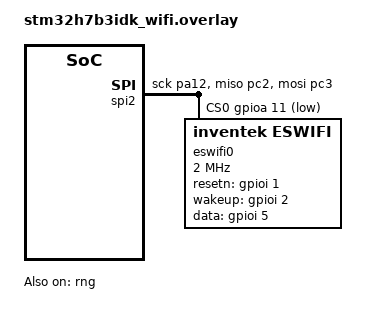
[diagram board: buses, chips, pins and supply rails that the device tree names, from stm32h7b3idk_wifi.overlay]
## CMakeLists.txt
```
cmake_minimum_required(VERSION 3.20.0)

set(DTC_OVERLAY_FILE
    "${CMAKE_CURRENT_SOURCE_DIR}/stm32h7b3idk_wifi.overlay"
    "${CMAKE_CURRENT_SOURCE_DIR}/stm32h7b3idk_backlight.overlay"
)

find_package(Zephyr REQUIRED HINTS $ENV{ZEPHYR_BASE})
project(stm32h7b3i_wifi_demo)

target_include_directories(app PRIVATE src)

target_sources(app PRIVATE 
    src/main.c
    src/display.c
    src/backlight.c
    src/gui_wifi.c
    src/gui_wifi_scan.c
    src/gui_wifi_register.c
    src/wifi_connection.c
)
```

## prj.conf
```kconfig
# System
CONFIG_MAIN_STACK_SIZE=8192
CONFIG_NET_MGMT_EVENT_STACK_SIZE=4096

# Shell
CONFIG_SHELL=n
CONFIG_NET_SHELL=n
CONFIG_NET_L2_WIFI_SHELL=n
CONFIG_SHELL_BACKEND_SERIAL=n

# Log
CONFIG_LOG=y
CONFIG_LV_USE_LOG=y

# Display
CONFIG_DISPLAY=y
CONFIG_DISPLAY_LOG_LEVEL_ERR=y

# Touchscreen
CONFIG_INPUT=y

# LVGL
CONFIG_LVGL=y
CONFIG_LV_Z_PARTIAL_REFRESH=y
CONFIG_LV_Z_MEM_POOL_SIZE=65536
CONFIG_LV_DEF_REFR_PERIOD=16

CONFIG_LV_USE_LABEL=y

# LVGL fonts
CONFIG_LV_FONT_MONTSERRAT_14=y
CONFIG_LV_FONT_MONTSERRAT_20=y
CONFIG_LV_FONT_MONTSERRAT_40=y

# Peripherial
CONFIG_GPIO=y
CONFIG_SPI=y
CONFIG_PWM=y

# Network
CONFIG_NETWORKING=y
CONFIG_NET_IPV4=y
CONFIG_WIFI=y

CONFIG_WIFI_ESWIFI=y
CONFIG_WIFI_ESWIFI_BUS_SPI=y
CONFIG_WIFI_ESWIFI_SHELL=y
CONFIG_NET_MGMT_EVENT_INFO=y

# Hardware RNG
CONFIG_ENTROPY_GENERATOR=y
CONFIG_ENTROPY_STM32_RNG=y
CONFIG_ENTROPY_DEVICE_RANDOM_GENERATOR=y
```

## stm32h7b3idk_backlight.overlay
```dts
#include <zephyr/dt-bindings/pinctrl/stm32-pinctrl.h>
#include <zephyr/dt-bindings/pwm/pwm.h>

/ {
    backlight {
        compatible = "pwm-leds";

        lcd_backlight: lcd_backlight {
            pwms = <&pwm2 2 50000 PWM_POLARITY_NORMAL>;
            label = "LCD Backlight";
        };
    };
};

&pinctrl {
    lcd_backlight_pwm_pin: lcd_backlight_pwm_pin {
        pinmux = <STM32_PINMUX('A', 1, AF1)>;
    };
};

&timers2 {
    status = "okay";

    pwm2: pwm {
        status = "okay";
        pinctrl-0 = <&lcd_backlight_pwm_pin>;
        pinctrl-names = "default";
    };
};

&ltdc {
    /delete-property/ bl-ctrl-gpios;
};
```

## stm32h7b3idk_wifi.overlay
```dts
#include <zephyr/dt-bindings/gpio/gpio.h>

/ {
    chosen {
        zephyr,entropy = &rng;
    };
};

&rng {
    status = "okay";
};

/ {
    aliases {
        wifi0 = &eswifi0;
    };
};

&fdcan1 {
    status = "disabled";
};

&spi2 {
    pinctrl-0 = <&spi2_sck_pa12
                 &spi2_miso_pc2
                 &spi2_mosi_pc3>;
    pinctrl-names = "default";

    cs-gpios = <&gpioa 11 GPIO_ACTIVE_LOW>;

    status = "okay";

    eswifi0: wifi@0 {
        compatible = "inventek,eswifi";
        reg = <0>;
        spi-max-frequency = <2000000>;

        spi-cs-setup-delay-ns = <15000>;
        spi-cs-hold-delay-ns = <15000>;

        resetn-gpios = <&gpioi 1 GPIO_ACTIVE_HIGH>;
        wakeup-gpios = <&gpioi 2 GPIO_ACTIVE_HIGH>;
        data-gpios = <&gpioi 5 GPIO_ACTIVE_HIGH>;

        status = "okay";
    };
};
```

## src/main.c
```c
/*****************************************************************************
                                    INCLUDES
*****************************************************************************/
#include <zephyr/kernel.h>
#include <zephyr/logging/log.h>

#include <lvgl.h>

#include <display.h>
#include <backlight.h>
#include <theme.h>

#include <gui_wifi.h>
#include <gui_wifi_scan.h>
#include <gui_wifi_register.h>


/*****************************************************************************
                          PRIVATE DEFINES / MACROS
*****************************************************************************/
LOG_MODULE_REGISTER(app_main, LOG_LEVEL_INF);

#define MAIN_LOOP_PERIOD_MS   (10U)
#define PERF_PRINT_REPORT     (false)
#define ENABLE_BTN_ANIM       (true)


/*****************************************************************************
                     PRIVATE STRUCTS / ENUMS / VARIABLES
*****************************************************************************/

/*****************************************************************************
                         PRIVATE FUNCTION DECLARATIONS
*****************************************************************************/

/*****************************************************************************
                       PRIVATE FUNCTION IMPLEMENTATIONS
*****************************************************************************/

/*****************************************************************************
                           INTERFACE IMPLEMENTATION
*****************************************************************************/
int main(void)
{
    int ret = 0;

    ret = app_display_init(lv_color_hex(CHOZO_DARK_BLUE));
    if (0 != ret) {
        LOG_ERR("Display initialization failed: %d", ret);
        return 0;
    }

    (void)lv_timer_handler();

    ret = app_display_enable();
    if (0 != ret) {
        LOG_ERR("Failed to enable display: %d", ret);
        return 0;
    }

    backlight_btn_t colors = {
        .background = lv_color_hex(CHOZO_DARK_BLUE),
        .icon = lv_color_hex(DARK_SAMUS_BLUE),
        .border = lv_color_hex(SAMUS_GREEN),
    };
    backlight_button_create(lv_screen_active(), colors, ENABLE_BTN_ANIM);

    app_display_create_version_label(lv_screen_active(), lv_color_hex(SAMUS_GREEN));

    ret = gui_wifi_init(lv_screen_active(), lv_color_hex(CHOZO_DARK_BLUE), 
                        lv_color_hex(SAMUS_GREEN));
    if (0 != ret) {
        LOG_ERR("Wi-Fi GUI initialization failed: %d", ret);
    return 0;
    }

    while (true) {
        gui_wifi_scan_process();
        gui_wifi_register_process();

        (void)lv_timer_handler();
        k_sleep(K_MSEC(MAIN_LOOP_PERIOD_MS));
    }
}
```

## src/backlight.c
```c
/*****************************************************************************
                                    INCLUDES
*****************************************************************************/
#include <backlight.h>

#include <zephyr/device.h>
#include <zephyr/devicetree.h>
#include <zephyr/drivers/pwm.h>
#include <zephyr/kernel.h>
#include <zephyr/logging/log.h>


/*****************************************************************************
                          PRIVATE DEFINES / MACROS
*****************************************************************************/
LOG_MODULE_REGISTER(backlight, LOG_LEVEL_INF);

#define BACKLIGHT_NODE DT_NODELABEL(lcd_backlight)
#define BACKLIGHT_LOW_PERCENT   (35U)
#define BACKLIGHT_HIGH_PERCENT  (85U)
#define BACKLIGHT_PERCENT_MAX   (100U)


/*****************************************************************************
                     PRIVATE STRUCTS / ENUMS / VARIABLES
*****************************************************************************/
static bool backlight_high = true;
static lv_obj_t *backlight_button = NULL;
static lv_obj_t *backlight_icon = NULL;

static const struct pwm_dt_spec backlight = PWM_DT_SPEC_GET(BACKLIGHT_NODE);


/*****************************************************************************
                         PRIVATE FUNCTION DECLARATIONS
*****************************************************************************/

/*****************************************************************************
                       PRIVATE FUNCTION IMPLEMENTATIONS
*****************************************************************************/
static void backlight_button_cb(lv_event_t *event)
{
    int ret = 0;
    uint32_t brightness = BACKLIGHT_LOW_PERCENT;

    ARG_UNUSED(event);

    brightness = (true == backlight_high) ? (BACKLIGHT_LOW_PERCENT) : (BACKLIGHT_HIGH_PERCENT);
    ret = backlight_set_brightness(brightness);
    if (0 != ret) {
        LOG_ERR("Backlight PWM error: %d", ret);
        return;
    }

    backlight_high = !backlight_high;
    lv_label_set_text(backlight_icon, (true == backlight_high) ? (LV_SYMBOL_EYE_OPEN) : (LV_SYMBOL_EYE_CLOSE));
}


/*****************************************************************************
                           INTERFACE IMPLEMENTATION
*****************************************************************************/
int backlight_set_brightness(uint32_t percent)
{
    uint32_t pulse_ns = 0U;

    if (BACKLIGHT_PERCENT_MAX < percent) {
        return -EINVAL;
    }

    pulse_ns = (uint32_t)(((uint64_t)backlight.period * percent) / BACKLIGHT_PERCENT_MAX);
    return pwm_set_dt(&backlight, backlight.period, pulse_ns);
}

uint32_t backlight_get_brightness(void)
{
    return (true == backlight_high) ? (BACKLIGHT_HIGH_PERCENT) : (BACKLIGHT_LOW_PERCENT);
}

void backlight_button_create(lv_obj_t *screen, backlight_btn_t colors, bool enable_anim)
{
    backlight_button = lv_button_create(screen);

    if (true != enable_anim) {
        lv_obj_remove_style_all(backlight_button);
    }

    lv_obj_set_size(backlight_button, 42, 42);
    lv_obj_align(backlight_button, LV_ALIGN_TOP_LEFT, 8, 8);
    lv_obj_set_style_radius(backlight_button, LV_RADIUS_CIRCLE, 0);
    lv_obj_set_style_bg_color(backlight_button, colors.background, 0);
    lv_obj_set_style_bg_opa(backlight_button, LV_OPA_COVER, 0);

    lv_obj_set_style_border_width(backlight_button, 2, 0);
    lv_obj_set_style_border_color(backlight_button, colors.border, 0);

    lv_obj_add_event_cb(backlight_button, backlight_button_cb, LV_EVENT_CLICKED, NULL);

    backlight_icon = lv_label_create(backlight_button);
    lv_label_set_text(backlight_icon, LV_SYMBOL_EYE_OPEN);
    lv_obj_center(backlight_icon);
    lv_obj_set_style_text_color(backlight_icon, colors.icon, 0);
}

int backlight_init(void) 
{
    int ret = 0;

    if (true != pwm_is_ready_dt(&backlight)) {
        LOG_ERR("Backlight PWM device not ready");
        return -ENODEV;
    }

    ret = backlight_set_brightness(BACKLIGHT_HIGH_PERCENT);
    if (0 != ret) {
        LOG_ERR("Backlight PWM error: %d", ret);
    }

    return ret;
}
```

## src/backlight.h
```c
/**
 * @file backlight.h
 * @brief LCD backlight control and LVGL user interface.
 *
 * Provides an interface for initializing the LCD backlight
 * and creating an LVGL button to control its brightness.
 */

#ifndef BACKLIGHT_H
#define BACKLIGHT_H

/*****************************************************************************
                                    INCLUDES
*****************************************************************************/
#include <stdint.h>

#include <lvgl.h>


/*****************************************************************************
                       PUBLIC DEFINES / MACROS / ENUMS
*****************************************************************************/

/*****************************************************************************
                         PUBLIC INTERFACE DECLARATION
*****************************************************************************/
/**
 * @brief Color configuration for the backlight control button.
 * @note Defines the colors used by the LVGL backlight button and its graphical elements.
 */
typedef struct {
    lv_color_t background;
    lv_color_t icon;
    lv_color_t border;
} backlight_btn_t;

/**
 * @brief Create an LVGL button for controlling the LCD backlight.
 * @param [in] screen Parent LVGL object.
 * @param [in] colors Color configuration for the button.
 * @param [in] enable_anim Enable button animation.
 */
void backlight_button_create(lv_obj_t *screen, backlight_btn_t colors, bool enable_anim);

/**
 * @brief Initialize the LCD backlight.
 * @return 0 Initialization completed successfully, error code if initialization fails.
 */
int backlight_init(void);

/**
 * @brief Set LCD backlight brightness.
 * @param[in] percent Brightness in the range 0-100%.
 * @retval 0 Brightness updated successfully.
 * @retval <0 PWM configuration failed.
 */
int backlight_set_brightness(uint32_t percent);

/**
 * @brief Get the user-selected backlight brightness.
 * @return Brightness percentage.
 */
uint32_t backlight_get_brightness(void);

#endif // BACKLIGHT_H
```

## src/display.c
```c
/*****************************************************************************
                                    INCLUDES
*****************************************************************************/
#include <errno.h>
#include <stdio.h>

#include <zephyr/device.h>
#include <zephyr/devicetree.h>
#include <zephyr/drivers/display.h>
#include <zephyr/logging/log.h>
#include <zephyr/version.h>

#include <lvgl.h>

#include <backlight.h>
#include <display.h>
#include <theme.h>


/*****************************************************************************
                          PRIVATE DEFINES / MACROS
*****************************************************************************/
LOG_MODULE_REGISTER(app_display, LOG_LEVEL_INF);

#define VERSION_TEXT_SIZE     (64U)
#define VERSION_LABEL_Y_POS   (12)


/*****************************************************************************
                     PRIVATE STRUCTS / ENUMS / VARIABLES
*****************************************************************************/
static const struct device *display_dev = DEVICE_DT_GET(DT_CHOSEN(zephyr_display));


/*****************************************************************************
                         PRIVATE FUNCTION DECLARATIONS
*****************************************************************************/

/*****************************************************************************
                       PRIVATE FUNCTION IMPLEMENTATIONS
*****************************************************************************/

/*****************************************************************************
                           INTERFACE IMPLEMENTATION
*****************************************************************************/
int app_display_init(lv_color_t color_bg)
{
    lv_display_t *display = NULL;
    lv_obj_t *screen = NULL;

    if (false == device_is_ready(display_dev)) {
        LOG_ERR("Display device not ready");
        return -ENODEV;
    }

    display = lv_display_get_default();
    if (NULL == display) {
        LOG_ERR("No LVGL display");
        return -ENODEV;
    }

    screen = lv_screen_active();
    if (NULL == screen) {
        LOG_ERR("No active LVGL screen");
        return -ENODEV;
    }

    lv_obj_set_style_bg_color(screen, color_bg, LV_PART_MAIN);
    lv_obj_set_style_bg_opa(screen, LV_OPA_COVER, LV_PART_MAIN);

    lv_obj_set_scrollable(screen, false);

    return 0;
}

int app_display_enable(void)
{
    int ret = 0;

    ret = display_blanking_off(display_dev);
    if ((0 > ret) && (-ENOSYS != ret)) {
        LOG_ERR("Failed to disable display blanking: %d", ret);
        return ret;
    }

    ret = backlight_init();
    if (0 != ret) {
        LOG_WRN("Backlight initialization failed: %d", ret);
    }

    return 0;
}

void app_display_create_version_label(lv_obj_t *screen, lv_color_t text_color)
{
    if (NULL == screen) {
        return;
    }

    lv_obj_t *version_label = NULL;
    char version_text[VERSION_TEXT_SIZE] = {0};

    (void)snprintf(version_text, sizeof(version_text),
                   "Zephyr %u.%u x LVGL %u.%u",
                   (unsigned int)KERNEL_VERSION_MAJOR, (unsigned int)KERNEL_VERSION_MINOR,
                   (unsigned int)lv_version_major(), (unsigned int)lv_version_minor());
    version_label = lv_label_create(screen);
    if (NULL == version_label) {
        LOG_ERR("Failed to create version label");
        return;
    }

    lv_label_set_text(version_label, version_text);
    lv_obj_set_style_text_font(version_label, &lv_font_montserrat_20, LV_PART_MAIN);
    lv_obj_set_style_text_color(version_label, text_color, LV_PART_MAIN);
    lv_obj_set_style_text_align(version_label, LV_TEXT_ALIGN_CENTER, LV_PART_MAIN);
    lv_obj_align(version_label, LV_ALIGN_TOP_MID, 0, VERSION_LABEL_Y_POS);
}
```

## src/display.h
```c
/**
 * @file display.h
 * @brief Display initialization and LVGL user interface setup.
 *
 * Provides functions for initializing the application display,
 * configuring the LVGL screen, and enabling the LCD backlight.
 */

#ifndef DISPLAY_H
#define DISPLAY_H

/*****************************************************************************
                                    INCLUDES
*****************************************************************************/
#include <lvgl.h>


/*****************************************************************************
                       PUBLIC DEFINES / MACROS / ENUMS
*****************************************************************************/

/*****************************************************************************
                         PUBLIC INTERFACE DECLARATION
*****************************************************************************/
/**
 * @brief Initialize the display user interface.
 * @param [in] color_bg Screen backgroud color.
 * @retval 0 Initialization completed successfully.
 * @retval -ENODEV Display device or LVGL display is unavailable.
 */
int app_display_init(lv_color_t color_bg);

/**
 * @brief Enable the display and initialize its backlight.
 * @retval 0 Display enabled successfully.
 * @retval <0 Failed to disable display blanking.
 */
int app_display_enable(void);

/**
 * @brief Create an LVGL label displaying Zephyr and LVGL versions.
 * @param [in] screen Parent LVGL object.
 * @param [in] text_color Text color.
 */
void app_display_create_version_label(lv_obj_t *screen, lv_color_t text_color);

#endif // DISPLAY_H
```

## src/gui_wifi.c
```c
/*****************************************************************************
                                    INCLUDES
*****************************************************************************/
#include <errno.h>

#include <lvgl.h>

#include <gui_wifi.h>
#include <gui_wifi_scan.h>
#include <gui_wifi_register.h>
#include <wifi_connection.h>
#include <backlight.h>


/*****************************************************************************
                          PRIVATE DEFINES / MACROS
*****************************************************************************/
#define WIFI_BUTTON_WIDTH       (130)
#define WIFI_BUTTON_HEIGHT      (45)
#define WIFI_BUTTON_OFFSET_X    (80)
#define WIFI_BUTTON_OFFSET_Y    (-15)

#define WIFI_CLOSE_BUTTON_SIZE  (36)
#define WIFI_CLOSE_OFFSET       (10)

#define WIFI_TITLE_OFFSET_Y     (15)

#define WIFI_SCREEN_FADE_MS     (500U)


/*****************************************************************************
                     PRIVATE STRUCTS / ENUMS / VARIABLES
*****************************************************************************/
static lv_obj_t *scan_screen = NULL;
static lv_obj_t *register_screen = NULL;

static lv_obj_t *fade_overlay = NULL;
static lv_obj_t *fade_target = NULL;
static lv_obj_t *fade_source = NULL;
static bool fade_screen_loaded = false;

static uint32_t fade_start_brightness = 0U;


/*****************************************************************************
                         PRIVATE FUNCTION DECLARATIONS
*****************************************************************************/

/*****************************************************************************
                       PRIVATE FUNCTION IMPLEMENTATIONS
*****************************************************************************/
static void gui_wifi_fade_exec(void *obj, int32_t brightness)
{
    (void)obj;
    (void)backlight_set_brightness((uint32_t)brightness);

    if ((true != fade_screen_loaded) &&
        (0 == brightness) && (NULL != fade_target)) {
        fade_screen_loaded = true;
        lv_screen_load(fade_target);
    }
}

static void gui_wifi_fade_completed(lv_anim_t *anim)
{
    (void)anim;

    (void)backlight_set_brightness(fade_start_brightness);

    if (NULL != fade_overlay) {
        lv_obj_delete(fade_overlay);
        fade_overlay = NULL;
    }

    fade_target = NULL;
    fade_screen_loaded = false;

    if ((scan_screen == fade_source) &&
        (scan_screen != lv_screen_active())) {
        gui_wifi_scan_close();
    }

    if ((register_screen == fade_source) &&
        (register_screen != lv_screen_active())) {
        gui_wifi_register_close();
    }

    fade_source = NULL;

    if (scan_screen == lv_screen_active()) {
        gui_wifi_scan_start();
    }
}

static void gui_wifi_switch_screen(lv_obj_t *target)
{
    lv_anim_t anim;

    if ((NULL == target) || (NULL != fade_overlay) ||
        (target == lv_screen_active())) {
        return;
    }

    fade_start_brightness = backlight_get_brightness();

    fade_overlay = lv_obj_create(lv_layer_top());
    if (NULL == fade_overlay) {
        lv_screen_load(target);
        return;
    }

    fade_target = target;
    fade_screen_loaded = false;
    fade_source = lv_screen_active();

    lv_obj_remove_style_all(fade_overlay);
    lv_obj_set_size(fade_overlay, LV_PCT(100), LV_PCT(100));
    lv_obj_set_pos(fade_overlay, 0, 0);

    lv_obj_set_scrollable(fade_overlay, false);
    lv_obj_set_clickable(fade_overlay, true);

    lv_obj_set_style_bg_opa(fade_overlay, LV_OPA_TRANSP, LV_PART_MAIN);
    
    lv_anim_init(&anim);
    lv_anim_set_var(&anim, fade_overlay);
    lv_anim_set_exec_cb(&anim, gui_wifi_fade_exec);
    lv_anim_set_values(&anim, (int32_t)fade_start_brightness, 0);
    lv_anim_set_duration(&anim, WIFI_SCREEN_FADE_MS);
    lv_anim_set_playback_duration(&anim, WIFI_SCREEN_FADE_MS);

    lv_anim_set_path_cb(&anim, lv_anim_path_ease_in_out);
    lv_anim_set_completed_cb(&anim, gui_wifi_fade_completed);

    if (NULL == lv_anim_start(&anim)) {
        lv_obj_delete(fade_overlay);

        fade_overlay = NULL;
        fade_target = NULL;
        fade_screen_loaded = false;

        lv_screen_load(target);
        (void)backlight_set_brightness(fade_start_brightness);
    }
}

static void gui_wifi_navigate(lv_event_t *event)
{
    lv_obj_t *target = (lv_obj_t *)lv_event_get_user_data(event);
    gui_wifi_switch_screen(target);
}

static lv_obj_t *gui_wifi_create_button(lv_obj_t *parent, const char *text, lv_obj_t *target,
                                        lv_color_t background, lv_color_t foreground)
{
    lv_obj_t *button = lv_button_create(parent);
    if (NULL == button) {
        return NULL;
    }

    lv_obj_t *label = lv_label_create(button);
    if (NULL == label) {
        lv_obj_delete(button);
        return NULL;
    }

    lv_obj_set_style_bg_color(button, background, LV_PART_MAIN);
    lv_label_set_text(label, text);
    lv_obj_set_style_text_color(label, foreground, LV_PART_MAIN);
    lv_obj_center(label);

    lv_obj_add_event_cb(button, gui_wifi_navigate, LV_EVENT_CLICKED, target);

    return button;
}

static lv_obj_t *gui_wifi_create_screen(lv_obj_t *home, const char *title,
                                        lv_color_t background, lv_color_t accent)
{
    lv_obj_t *screen = lv_obj_create(NULL);
    if (NULL == screen) {
        return NULL;
    }

    lv_obj_set_style_bg_color(screen, background, LV_PART_MAIN);
    lv_obj_set_style_bg_opa(screen, LV_OPA_COVER, LV_PART_MAIN);
    lv_obj_set_scrollable(screen, false);

    lv_obj_t *label = lv_label_create(screen);
    if (NULL == label) {
        lv_obj_delete(screen);
        return NULL;
    }

    lv_label_set_text(label, title);
    lv_obj_set_style_text_color(label, accent, LV_PART_MAIN);
    lv_obj_set_style_text_font(label, &lv_font_montserrat_20, LV_PART_MAIN);
    lv_obj_align(label, LV_ALIGN_TOP_MID, 0, WIFI_TITLE_OFFSET_Y);

    lv_obj_t *close = gui_wifi_create_button(screen, "X", home, accent, background);
    if (NULL == close) {
        lv_obj_delete(screen);
        return NULL;
    }

    lv_obj_set_size(close, WIFI_CLOSE_BUTTON_SIZE, WIFI_CLOSE_BUTTON_SIZE);
    lv_obj_align(close, LV_ALIGN_TOP_RIGHT, -WIFI_CLOSE_OFFSET, WIFI_CLOSE_OFFSET);

    return screen;
}


/*****************************************************************************
                           INTERFACE IMPLEMENTATION
*****************************************************************************/
int gui_wifi_init(lv_obj_t *screen, lv_color_t background, lv_color_t accent)
{
    lv_obj_t *scan_button = NULL;
    lv_obj_t *register_button = NULL;
    int ret = 0;

    if (NULL == screen) {
        return -EINVAL;
    }

    if ((NULL != scan_screen) || (NULL != register_screen)) {
        return -EALREADY;
    }

    ret = wifi_connection_init();
    if (0 != ret) {
        return ret;
    }

    scan_screen = gui_wifi_create_screen(screen, "Wi-Fi Scan", background, accent);
    if (NULL == scan_screen) {
        return -ENOMEM;
    }

    register_screen = gui_wifi_create_screen(screen, "Wi-Fi Register", background, accent);
    if (NULL == register_screen) {
        lv_obj_delete(scan_screen);
        scan_screen = NULL;

        return -ENOMEM;
    }

    ret = gui_wifi_scan_init(scan_screen, accent);
    if (0 != ret) {
        lv_obj_delete(scan_screen);
        lv_obj_delete(register_screen);

        scan_screen = NULL;
        register_screen = NULL;

        return ret;
    }

    ret = gui_wifi_register_init(register_screen, accent);
    if (0 != ret) {
        lv_obj_delete(scan_screen);
        lv_obj_delete(register_screen);

        scan_screen = NULL;
        register_screen = NULL;

        return ret;
    }

    scan_button = gui_wifi_create_button(screen, "SCAN", scan_screen, accent, background);
    register_button = gui_wifi_create_button(screen, "REGISTER", register_screen, accent, background);

    if ((NULL == scan_button) || (NULL == register_button)) {
        if (NULL != scan_button) {
            lv_obj_delete(scan_button);
        }

        if (NULL != register_button) {
            lv_obj_delete(register_button);
        }

        lv_obj_delete(scan_screen);
        lv_obj_delete(register_screen);

        scan_screen = NULL;
        register_screen = NULL;

        return -ENOMEM;
    }

    lv_obj_set_size(scan_button, WIFI_BUTTON_WIDTH, WIFI_BUTTON_HEIGHT);
    lv_obj_align(scan_button, LV_ALIGN_BOTTOM_MID, -WIFI_BUTTON_OFFSET_X, WIFI_BUTTON_OFFSET_Y);

    lv_obj_set_size(register_button, WIFI_BUTTON_WIDTH, WIFI_BUTTON_HEIGHT);
    lv_obj_align(register_button, LV_ALIGN_BOTTOM_MID, WIFI_BUTTON_OFFSET_X, WIFI_BUTTON_OFFSET_Y);

    return 0;
}
```

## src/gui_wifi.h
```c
/**
 * @file gui_wifi.h
 * @brief LVGL user interface for Wi-Fi management.
 */

#ifndef GUI_WIFI_H
#define GUI_WIFI_H

/*****************************************************************************
                                    INCLUDES
*****************************************************************************/
#include <lvgl.h>


/*****************************************************************************
                       PUBLIC DEFINES / MACROS / ENUMS
*****************************************************************************/

/*****************************************************************************
                         PUBLIC INTERFACE DECLARATION
*****************************************************************************/
/**
 * @brief Initialize the Wi-Fi management interface.
 * @param[in] screen Main LVGL screen.
 * @param[in] background Background color.
 * @param[in] accent Accent color for buttons and labels.
 * @retval 0 Initialization completed successfully.
 * @retval -EINVAL Invalid screen pointer.
 * @retval -ENOMEM Failed to create an LVGL object.
 * @retval -EALREADY Interface already initialized.
 */
int gui_wifi_init(lv_obj_t *screen, lv_color_t background, lv_color_t accent);

#endif // GUI_WIFI_H
```

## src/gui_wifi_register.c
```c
/*****************************************************************************
                                    INCLUDES
*****************************************************************************/
#include <errno.h>
#include <stdint.h>

#include <lvgl.h>
#include <theme.h>
#include <gui_wifi_register.h>
#include <wifi_connection.h>


/*****************************************************************************
                          PRIVATE DEFINES / MACROS
*****************************************************************************/
#define WIFI_REGISTER_SSID_X                 (15)
#define WIFI_REGISTER_PASSWORD_X             (210)
#define WIFI_REGISTER_CONNECT_X              (375)
#define WIFI_REGISTER_FIELDS_Y               (55)
#define WIFI_REGISTER_SSID_WIDTH             (185)
#define WIFI_REGISTER_PASSWORD_WIDTH         (155)
#define WIFI_REGISTER_CONNECT_WIDTH          (90)
#define WIFI_REGISTER_FIELDS_HEIGHT          (34)

#define WIFI_REGISTER_STATUS_X               (15)
#define WIFI_REGISTER_STATUS_Y               (96)
#define WIFI_REGISTER_STATUS_WIDTH           (450)

#define WIFI_REGISTER_KEYBOARD_X             (10)
#define WIFI_REGISTER_KEYBOARD_Y             (115)
#define WIFI_REGISTER_KEYBOARD_WIDTH         (460)
#define WIFI_REGISTER_KEYBOARD_HEIGHT        (147)

#define WIFI_REGISTER_SSID_MAX_LENGTH        (32U)
#define WIFI_REGISTER_PASSPHRASE_MAX_LENGTH  (63U)
#define WIFI_REGISTER_FIELD_PAD_H            (7)
#define WIFI_REGISTER_FIELD_PAD_V            (6)
#define WIFI_REGISTER_KEYBOARD_PAD           (2)
#define WIFI_REGISTER_KEYBOARD_GAP           (2)
#define WIFI_REGISTER_KEYBOARD_RADIUS        (3)
#define WIFI_REGISTER_FIELD_RADIUS           (4)


/*****************************************************************************
                     PRIVATE STRUCTS / ENUMS / VARIABLES
*****************************************************************************/
static lv_obj_t *register_screen = NULL;
static lv_obj_t *ssid_textarea = NULL;
static lv_obj_t *password_textarea = NULL;
static lv_obj_t *register_keyboard = NULL;
static lv_obj_t *register_status = NULL;


/*****************************************************************************
                         PRIVATE FUNCTION DECLARATIONS
*****************************************************************************/

/*****************************************************************************
                       PRIVATE FUNCTION IMPLEMENTATIONS
*****************************************************************************/
static void gui_wifi_register_set_status(const char *text)
{
    if (NULL != register_status) {
        lv_label_set_text(register_status, text);
    }
}

static void gui_wifi_register_textarea_event(lv_event_t *event)
{
    lv_event_code_t code = lv_event_get_code(event);
    lv_obj_t *textarea = (lv_obj_t *)lv_event_get_target(event);

    if (((LV_EVENT_CLICKED == code) || (LV_EVENT_FOCUSED == code)) &&
        (NULL != register_keyboard)) {
        lv_keyboard_set_textarea(register_keyboard, textarea);
    }
}

static void gui_wifi_register_keyboard_event(lv_event_t *event)
{
    lv_event_code_t code = lv_event_get_code(event);

    if (LV_EVENT_READY == code) {
        // The keyboard's OK key changes focus, it does not connect.
        if (ssid_textarea == lv_keyboard_get_textarea(register_keyboard)) {
            lv_keyboard_set_textarea(register_keyboard, password_textarea);
            lv_obj_add_state(password_textarea, LV_STATE_FOCUSED);
        }
    }
    else if (LV_EVENT_CANCEL == code) {
        // Keep the on-screen keyboard visible and usable.
        lv_keyboard_set_textarea(register_keyboard, ssid_textarea);
    }
}

static void gui_wifi_register_connect_event(lv_event_t *event)
{
    const char *ssid = NULL;
    const char *password = NULL;
    int ret = 0;

    if (LV_EVENT_CLICKED != lv_event_get_code(event)) {
        return;
    }

    ssid = lv_textarea_get_text(ssid_textarea);
    password = lv_textarea_get_text(password_textarea);

    if ((NULL == ssid) || ('\0' == ssid[0])) {
        gui_wifi_register_set_status("Enter SSID");
        lv_keyboard_set_textarea(register_keyboard, ssid_textarea);
        return;
    }

    if ((NULL == password) || ('\0' == password[0])) {
        gui_wifi_register_set_status("Enter password");
        lv_keyboard_set_textarea(register_keyboard, password_textarea);
        return;
    }

    ret = wifi_connection_connect(ssid, password);

    if (0 != ret) {
        gui_wifi_register_set_status("Connection request failed");
        return;
    }

    gui_wifi_register_set_status("Connecting...");
}

static lv_obj_t *gui_wifi_register_create_textarea(lv_obj_t *screen,
                                                   const char *placeholder,
                                                   int32_t x,
                                                   int32_t width,
                                                   uint32_t max_length,
                                                   bool password_mode,
                                                   lv_color_t accent)
{
    lv_obj_t *textarea = lv_textarea_create(screen);

    if (NULL == textarea) {
        return NULL;
    }

    lv_obj_set_pos(textarea, x, WIFI_REGISTER_FIELDS_Y);
    lv_obj_set_size(textarea, width, WIFI_REGISTER_FIELDS_HEIGHT);
    lv_obj_set_style_bg_color(textarea, lv_color_hex(CHOZO_DARK_BLUE), LV_PART_MAIN);
    lv_obj_set_style_bg_opa(textarea, LV_OPA_COVER, LV_PART_MAIN);
    lv_obj_set_style_border_color(textarea, accent, LV_PART_MAIN);
    lv_obj_set_style_border_width(textarea, 1, LV_PART_MAIN);
    lv_obj_set_style_radius(textarea, WIFI_REGISTER_FIELD_RADIUS, LV_PART_MAIN);
    lv_obj_set_style_pad_hor(textarea, WIFI_REGISTER_FIELD_PAD_H, LV_PART_MAIN);
    lv_obj_set_style_pad_ver(textarea, WIFI_REGISTER_FIELD_PAD_V, LV_PART_MAIN);
    lv_obj_set_style_text_font(textarea, &lv_font_montserrat_14, LV_PART_MAIN);
    lv_obj_set_style_text_color(textarea, lv_color_hex(SAMUS_BLUE), LV_PART_MAIN);
    lv_obj_set_style_text_color(textarea, accent, LV_PART_TEXTAREA_PLACEHOLDER);
    lv_textarea_set_one_line(textarea, true);
    lv_textarea_set_placeholder_text(textarea, placeholder);
    lv_textarea_set_max_length(textarea, max_length);
    lv_textarea_set_password_mode(textarea, password_mode);
    lv_obj_add_event_cb(textarea, gui_wifi_register_textarea_event, 
                        LV_EVENT_CLICKED, NULL);
    lv_obj_add_event_cb(textarea, gui_wifi_register_textarea_event, 
                        LV_EVENT_FOCUSED, NULL);

    return textarea;
}


/*****************************************************************************
                           INTERFACE IMPLEMENTATION
*****************************************************************************/
int gui_wifi_register_init(lv_obj_t *screen, lv_color_t accent)
{
    lv_obj_t *connect_button = NULL;
    lv_obj_t *connect_label = NULL;

    if (NULL == screen) {
        return -EINVAL;
    }
    if (NULL != register_screen) {
        return -EALREADY;
    }

    register_screen = screen;

    ssid_textarea = gui_wifi_register_create_textarea(screen, "SSID",
                                                      WIFI_REGISTER_SSID_X,
                                                      WIFI_REGISTER_SSID_WIDTH,
                                                      WIFI_REGISTER_SSID_MAX_LENGTH,
                                                      false, accent);
    password_textarea = gui_wifi_register_create_textarea(screen, "Password",
                                                          WIFI_REGISTER_PASSWORD_X,
                                                          WIFI_REGISTER_PASSWORD_WIDTH,
                                                          WIFI_REGISTER_PASSPHRASE_MAX_LENGTH,
                                                          true, accent);
    if ((NULL == ssid_textarea) || (NULL == password_textarea)) {
        return -ENOMEM;
    }

    connect_button = lv_button_create(screen);
    if (NULL == connect_button) {
        return -ENOMEM;
    }

    lv_obj_set_pos(connect_button, WIFI_REGISTER_CONNECT_X, WIFI_REGISTER_FIELDS_Y);
    lv_obj_set_size(connect_button, WIFI_REGISTER_CONNECT_WIDTH, 
                    WIFI_REGISTER_FIELDS_HEIGHT);
    lv_obj_set_style_bg_color(connect_button, accent, LV_PART_MAIN);
    lv_obj_set_style_shadow_width(connect_button, 0, LV_PART_MAIN);
    lv_obj_set_style_radius(connect_button, WIFI_REGISTER_FIELD_RADIUS, LV_PART_MAIN);
    lv_obj_add_event_cb(connect_button, gui_wifi_register_connect_event, 
                        LV_EVENT_CLICKED, NULL);

    connect_label = lv_label_create(connect_button);
    if (NULL == connect_label) {
        return -ENOMEM;
    }
    lv_label_set_text(connect_label, "Connect");
    lv_obj_set_style_text_color(connect_label, lv_color_hex(CHOZO_DARK_BLUE), LV_PART_MAIN);
    lv_obj_set_style_text_font(connect_label, &lv_font_montserrat_14, LV_PART_MAIN);
    lv_obj_center(connect_label);

    register_status = lv_label_create(screen);
    if (NULL == register_status) {
        return -ENOMEM;
    }
    lv_obj_set_pos(register_status, WIFI_REGISTER_STATUS_X, WIFI_REGISTER_STATUS_Y);
    lv_obj_set_width(register_status, WIFI_REGISTER_STATUS_WIDTH);
    lv_label_set_long_mode(register_status, LV_LABEL_LONG_DOT);
    lv_obj_set_style_text_color(register_status, accent, LV_PART_MAIN);
    lv_obj_set_style_text_font(register_status, &lv_font_montserrat_14, LV_PART_MAIN);
    gui_wifi_register_set_status("Disconnected");

    register_keyboard = lv_keyboard_create(screen);
    if (NULL == register_keyboard) {
        return -ENOMEM;
    }

    lv_obj_set_size(register_keyboard, WIFI_REGISTER_KEYBOARD_WIDTH,
                    WIFI_REGISTER_KEYBOARD_HEIGHT);

    lv_obj_align(register_keyboard, LV_ALIGN_TOP_LEFT,
                 WIFI_REGISTER_KEYBOARD_X, WIFI_REGISTER_KEYBOARD_Y);
    lv_obj_set_size(register_keyboard, WIFI_REGISTER_KEYBOARD_WIDTH,
                    WIFI_REGISTER_KEYBOARD_HEIGHT);
    lv_obj_set_style_bg_color(register_keyboard, lv_color_hex(CHOZO_DARK_BLUE), LV_PART_MAIN);
    lv_obj_set_style_bg_opa(register_keyboard, LV_OPA_COVER, LV_PART_MAIN);
    lv_obj_set_style_border_color(register_keyboard, accent, LV_PART_MAIN);
    lv_obj_set_style_border_width(register_keyboard, 1, LV_PART_MAIN);
    lv_obj_set_style_radius(register_keyboard, WIFI_REGISTER_FIELD_RADIUS, LV_PART_MAIN);
    lv_obj_set_style_pad_all(register_keyboard, WIFI_REGISTER_KEYBOARD_PAD, LV_PART_MAIN);
    lv_obj_set_style_pad_row(register_keyboard, WIFI_REGISTER_KEYBOARD_GAP, LV_PART_MAIN);
    lv_obj_set_style_pad_column(register_keyboard, WIFI_REGISTER_KEYBOARD_GAP, LV_PART_MAIN);

    lv_obj_set_style_bg_color(register_keyboard, accent, LV_PART_ITEMS);
    lv_obj_set_style_bg_opa(register_keyboard, LV_OPA_COVER, LV_PART_ITEMS);
    lv_obj_set_style_radius(register_keyboard, WIFI_REGISTER_KEYBOARD_RADIUS, LV_PART_ITEMS);
    lv_obj_set_style_text_color(register_keyboard, lv_color_hex(CHOZO_DARK_BLUE), LV_PART_ITEMS);
    lv_obj_set_style_text_font(register_keyboard, &lv_font_montserrat_14, LV_PART_ITEMS);

    lv_keyboard_set_textarea(register_keyboard, ssid_textarea);
    lv_obj_add_event_cb(register_keyboard, gui_wifi_register_keyboard_event, 
                        LV_EVENT_READY, NULL);
    lv_obj_add_event_cb(register_keyboard, gui_wifi_register_keyboard_event, 
                        LV_EVENT_CANCEL, NULL);

    return 0;
}

void gui_wifi_register_close(void)
{
    enum wifi_connection_state state = WIFI_CONNECTION_DISCONNECTED;

    if (NULL != ssid_textarea) {
        lv_textarea_set_text(ssid_textarea, "");
    }

    if (NULL != password_textarea) {
        lv_textarea_set_text(password_textarea, "");
    }

    if ((NULL != register_keyboard) &&
        (NULL != ssid_textarea)) {
        lv_keyboard_set_textarea(register_keyboard, ssid_textarea);
    }

    state = wifi_connection_get_state();

    switch (state) {
    case WIFI_CONNECTION_CONNECTING:
        gui_wifi_register_set_status("Connecting...");
        break;

    case WIFI_CONNECTION_CONNECTED:
        gui_wifi_register_set_status("Connected");
        break;

    case WIFI_CONNECTION_DISCONNECTING:
        gui_wifi_register_set_status("Disconnecting...");
        break;

    case WIFI_CONNECTION_FAILED:
        gui_wifi_register_set_status("Connection failed");
        break;

    case WIFI_CONNECTION_DISCONNECTED:
    default:
        gui_wifi_register_set_status("Disconnected");
        break;
    }
}

void gui_wifi_register_process(void)
{
    enum wifi_connection_state state = WIFI_CONNECTION_DISCONNECTED;

    if (false == wifi_connection_process()) {
        return;
    }

    state = wifi_connection_get_state();

    switch (state) {
    case WIFI_CONNECTION_DISCONNECTED:
        gui_wifi_register_set_status("Disconnected");
        break;

    case WIFI_CONNECTION_CONNECTING:
        gui_wifi_register_set_status("Connecting...");
        break;

    case WIFI_CONNECTION_CONNECTED:
        gui_wifi_register_set_status("Connected");
        break;

    case WIFI_CONNECTION_DISCONNECTING:
        gui_wifi_register_set_status("Disconnecting...");
        break;

    case WIFI_CONNECTION_FAILED:
    default:
        gui_wifi_register_set_status("Connection failed");
        break;
    }
}
```

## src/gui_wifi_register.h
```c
#ifndef GUI_WIFI_REGISTER_H_
#define GUI_WIFI_REGISTER_H_

/*****************************************************************************
                                    INCLUDES
*****************************************************************************/
#include <lvgl.h>


/*****************************************************************************
                       PUBLIC DEFINES / MACROS / ENUMS
*****************************************************************************/

/*****************************************************************************
                         PUBLIC INTERFACE DECLARATION
*****************************************************************************/
/**
 * @brief Create the Wi-Fi registration UI on an existing screen.
 * @param [in] screen Registration screen created by the GUI navigation module.
 * @param [in] accent Accent color used by the application theme.
 * @return 0 on success, negative errno on failure.
 */
int gui_wifi_register_init(lv_obj_t *screen, lv_color_t accent);

/**
 * @brief Clear the password and reset keyboard focus when leaving the screen.
 */
void gui_wifi_register_close(void);

/**
 * @brief Process pending Wi-Fi connection events.
 * @note Must be called periodically from the LVGL thread.
 */
void gui_wifi_register_process(void);

#endif // GUI_WIFI_REGISTER_H_
```

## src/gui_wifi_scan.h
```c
#ifndef GUI_WIFI_SCAN_H
#define GUI_WIFI_SCAN_H

/*****************************************************************************
                                    INCLUDES
*****************************************************************************/
#include <lvgl.h>


/*****************************************************************************
                       PUBLIC DEFINES / MACROS / ENUMS
*****************************************************************************/

/*****************************************************************************
                         PUBLIC INTERFACE DECLARATION
*****************************************************************************/
/**
 * @brief Initialize the Wi-Fi scan screen.
 * @param[in] screen Parent LVGL screen.
 * @param[in] accent Accent color.
 * @retval 0 Initialization successful.
 * @retval -EINVAL Invalid screen pointer.
 * @retval -ENOMEM LVGL object allocation failed.
 */
int gui_wifi_scan_init(lv_obj_t *screen, lv_color_t accent);

/**
 * @brief Start scanning for available Wi-Fi networks.
 */
void gui_wifi_scan_start(void);

/**
 * @brief Process pending Wi-Fi scan events.
 *
 * Must be called from the LVGL application thread.
 */
void gui_wifi_scan_process(void);

/**
 * @brief Clear the Wi-Fi scan results when leaving the screen.
 */
void gui_wifi_scan_close(void);

#endif // GUI_WIFI_SCAN_H
```

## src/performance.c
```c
#include <errno.h>
#include <stdio.h>
#include <string.h>

#include <zephyr/kernel.h>
#include <zephyr/logging/log.h>
#include <zephyr/sys/atomic.h>

#include <lvgl.h>

#include <performance.h>
#include <theme.h>

LOG_MODULE_REGISTER(performance, LOG_LEVEL_INF);

#define PERF_REPORT_INTERVAL_MS  (1000U)
#define MS_PER_SECOND            (1000U)

#define PERF_TEXT_SIZE           (32U)
#define PERF_LABEL_X_POS         (-10)
#define PERF_LABEL_Y_POS         (10)

typedef struct {
    uint32_t handler_calls;
    uint64_t handler_total_us;
    uint64_t handler_max_us;
} perf_stats_t;

static perf_stats_t perf_stats = {0};

static atomic_t frame_count = ATOMIC_INIT(0);
static atomic_t animation_count = ATOMIC_INIT(0);

//static lv_obj_t *performance_label = NULL;

static bool print_report = false;
static uint32_t previous_report_ms = 0U;

int performance_init(lv_obj_t *screen, bool enable_print_report)
{
    if (NULL == screen) {
        return -EINVAL;
    }

    print_report = enable_print_report;

    memset(&perf_stats, 0, sizeof(perf_stats));

    (void)atomic_set(&frame_count, 0);
    (void)atomic_set(&animation_count, 0);

    previous_report_ms = k_uptime_get_32();
/*
    performance_label = lv_label_create(screen);
    if (NULL == performance_label) {
        return -ENOMEM;
    }

    lv_label_set_text(performance_label, "FPS: --\nAPS: --");
    lv_obj_set_style_text_font(performance_label, &lv_font_montserrat_14, LV_PART_MAIN);
    lv_obj_set_style_text_color(performance_label, lv_color_hex(DARK_SAMUS_BLUE), LV_PART_MAIN);
    lv_obj_set_style_text_align(performance_label, LV_TEXT_ALIGN_RIGHT, LV_PART_MAIN);
    lv_obj_align(performance_label, LV_ALIGN_TOP_RIGHT, PERF_LABEL_X_POS, PERF_LABEL_Y_POS);
*/
    return 0;
}

void performance_record_lvgl_handler(uint32_t elapsed_cycles)
{
    uint64_t elapsed_us = k_cyc_to_us_floor64(elapsed_cycles);

    perf_stats.handler_calls++;
    perf_stats.handler_total_us += elapsed_us;

    if (perf_stats.handler_max_us < elapsed_us) {
        perf_stats.handler_max_us = elapsed_us;
    }
}

void performance_frame_record(void)
{
    (void)atomic_inc(&frame_count);
}

void performance_animation_record(void)
{
    (void)atomic_inc(&animation_count);
}

void performance_report(void)
{
    uint32_t now_ms = k_uptime_get_32();
    uint32_t elapsed_ms = now_ms - previous_report_ms;

    uint32_t frames = 0U;
    uint32_t animations = 0U;

    uint32_t fps = 0U;
    uint32_t aps = 0U;

    uint64_t handler_avg_us = 0U;

    char performance_text[PERF_TEXT_SIZE] = {0};

    if (PERF_REPORT_INTERVAL_MS > elapsed_ms) {
        return;
    }

    frames = (uint32_t)atomic_set(&frame_count, 0);
    animations = (uint32_t)atomic_set(&animation_count, 0);

    if (0U < elapsed_ms) {
        fps = (uint32_t)(((uint64_t)frames * MS_PER_SECOND) / elapsed_ms);
        aps = (uint32_t)(((uint64_t)animations * MS_PER_SECOND) / elapsed_ms);
    }

    if (0U < perf_stats.handler_calls) {
        handler_avg_us = perf_stats.handler_total_us / perf_stats.handler_calls;
    }

    (void)snprintf(performance_text, sizeof(performance_text), 
                   "FPS: %u\nAPS: %u", fps, aps);
/*
    if (NULL != performance_label) {
        lv_label_set_text(performance_label, performance_text);
    }
*/
    if (true == print_report) {
        LOG_INF("FPS: %u | APS: %u | LVGL avg: %llu us | LVGL max: %llu us",
                fps, aps,
                (unsigned long long)handler_avg_us,
                (unsigned long long)perf_stats.handler_max_us);
    }

    memset(&perf_stats, 0, sizeof(perf_stats));
    previous_report_ms = now_ms;
}
```

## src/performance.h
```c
/**
 * @file performance.h
 * @brief LVGL performance monitoring and reporting.
 *
 * Provides functions for measuring LVGL handler execution time,
 * tracking rendered frames and animation updates, and displaying
 * performance statistics.
 */

#ifndef PERFORMANCE_H
#define PERFORMANCE_H

#include <stdbool.h>

#include <lvgl.h>

/**
 * @brief Initialize the performance monitor.
 *
 * @param[in] screen Parent LVGL object.
 * @param[in] enable_print_report Enable periodic performance logging.
 * 
 * @retval 0 Initialization completed successfully.
 * @retval -EINVAL Invalid screen pointer.
 * @retval -ENOMEM Failed to create the performance label.
 */
int performance_init(lv_obj_t *screen, bool enable_print_report);

/**
 * @brief Record LVGL timer handler execution time.
 *
 * @param[in] elapsed_cycles Number of CPU cycles spent in the handler.
 */
void performance_record_lvgl_handler(uint32_t elapsed_cycles);

/**
 * @brief Update and optionally log performance statistics.
 */
void performance_report(void);

/**
 * @brief Record a completed display frame.
 */
void performance_frame_record(void);

/**
 * @brief Record an animation update.
 */
void performance_animation_record(void);

#endif // PERFORMANCE_H
```
